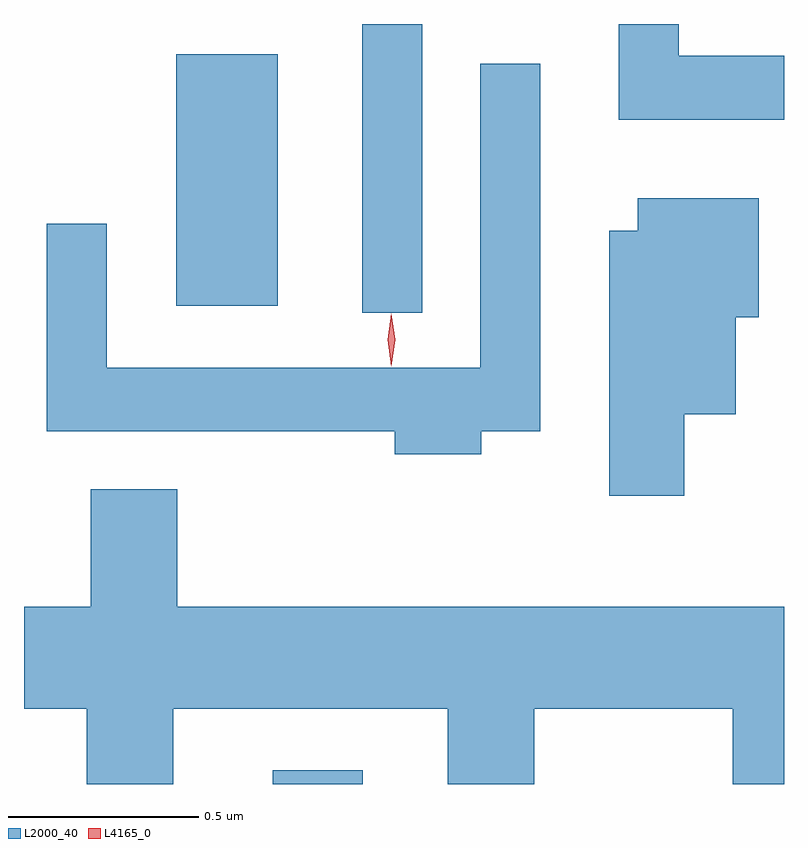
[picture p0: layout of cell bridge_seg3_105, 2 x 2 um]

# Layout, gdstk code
import gdstk
lib = gdstk.Library(unit=1e-6, precision=1e-09)
def R(c, l, rs):  # rectangles x0, y0, x1, y1
    for r in rs: c.add(gdstk.rectangle(r[:2], r[2:], *l))
def P(c, l, *ps):  # polygons
    for p in ps: c.add(gdstk.Polygon(p, *l))
L2000_40 = (2000, 40)
L4165_0 = (4165, 0)

bridge_seg3_105 = lib.new_cell('bridge_seg3_105')
R(bridge_seg3_105, L2000_40, [(949.971,1192.418,950.208,1192.454), (950.206,1193.658,950.364,1194.418), (949.716,1193.676,949.984,1194.339)])
P(bridge_seg3_105, L2000_40, [(951.316,1194.334),(951.039,1194.334),(951.039,1194.418),(950.881,1194.418),(950.881,1194.166),(951.316,1194.166)],
  [(950.519,1193.346),(950.674,1193.346),(950.674,1194.313),(950.516,1194.313),(950.516,1193.514),(949.534,1193.514),(949.534,1193.893),(949.376,1193.893),(949.376,1193.346),(950.291,1193.346),(950.291,1193.286),(950.519,1193.286)],
  [(951.054,1193.391),(951.189,1193.391),(951.189,1193.646),(951.249,1193.646),(951.249,1193.959),(950.931,1193.959),(950.931,1193.874),(950.856,1193.874),(950.856,1193.176),(951.054,1193.176)],
  [(949.709,1192.616),(950.431,1192.616),(950.431,1192.418),(950.659,1192.418),(950.659,1192.616),(951.181,1192.616),(951.181,1192.418),(951.316,1192.418),(951.316,1192.884),(949.719,1192.884),(949.719,1193.194),(949.491,1193.194),(949.491,1192.884),(949.316,1192.884),(949.316,1192.616),(949.481,1192.616),(949.481,1192.418),(949.709,1192.418)])
P(bridge_seg3_105, L4165_0, [(950.282,1193.517),(950.273,1193.587),(950.282,1193.656),(950.283,1193.656),(950.283,1193.656),(950.293,1193.587),(950.283,1193.517),(950.283,1193.517)])

lib.write_gds('bridge_seg3_105.gds')
